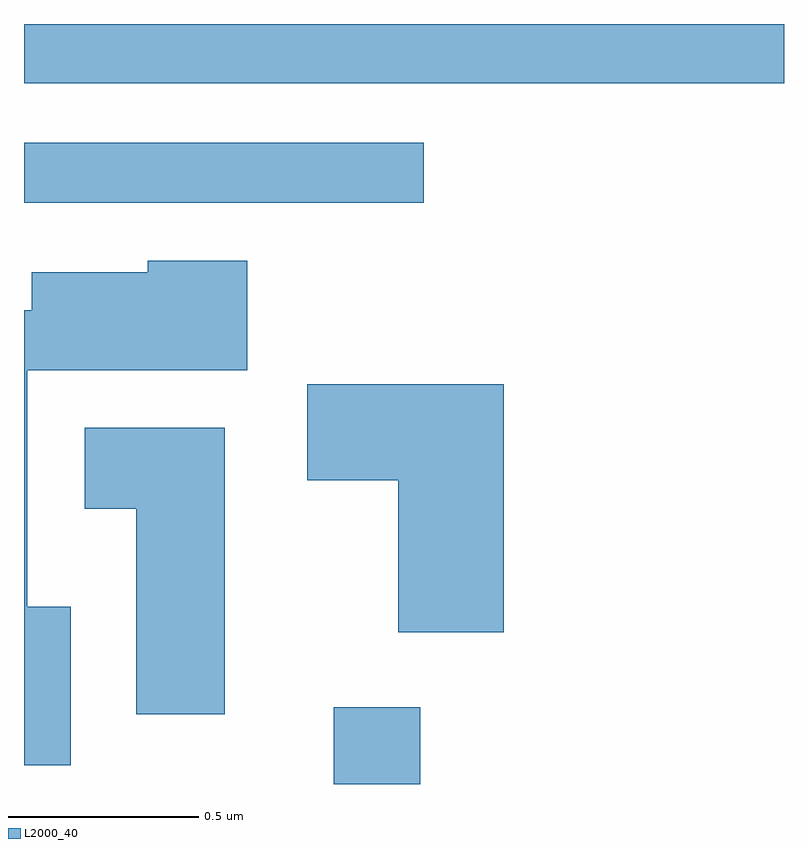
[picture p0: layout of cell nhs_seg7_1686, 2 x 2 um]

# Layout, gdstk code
import gdstk
lib = gdstk.Library(unit=1e-6, precision=1e-09)
def R(c, l, rs):  # rectangles x0, y0, x1, y1
    for r in rs: c.add(gdstk.rectangle(r[:2], r[2:], *l))
def P(c, l, *ps):  # polygons
    for p in ps: c.add(gdstk.Polygon(p, *l))
L2000_40 = (2000, 40)

nhs_seg7_1686 = lib.new_cell('nhs_seg7_1686')
R(nhs_seg7_1686, L2000_40, [(198.426,1710.252,198.654,1710.454), (197.611,1711.781,198.663,1711.939), (197.611,1712.096,199.611,1712.252)])
P(nhs_seg7_1686, L2000_40, [(197.734,1710.719),(197.619,1710.719),(197.619,1711.341),(198.199,1711.341),(198.199,1711.629),(197.936,1711.629),(197.936,1711.599),(197.631,1711.599),(197.631,1711.499),(197.611,1711.499),(197.611,1710.301),(197.734,1710.301)],
  [(198.874,1711.304),(198.356,1711.304),(198.356,1711.051),(198.596,1711.051),(198.596,1710.651),(198.874,1710.651)],
  [(198.139,1711.189),(197.771,1711.189),(197.771,1710.976),(197.906,1710.976),(197.906,1710.436),(198.139,1710.436)])

lib.write_gds('nhs_seg7_1686.gds')
